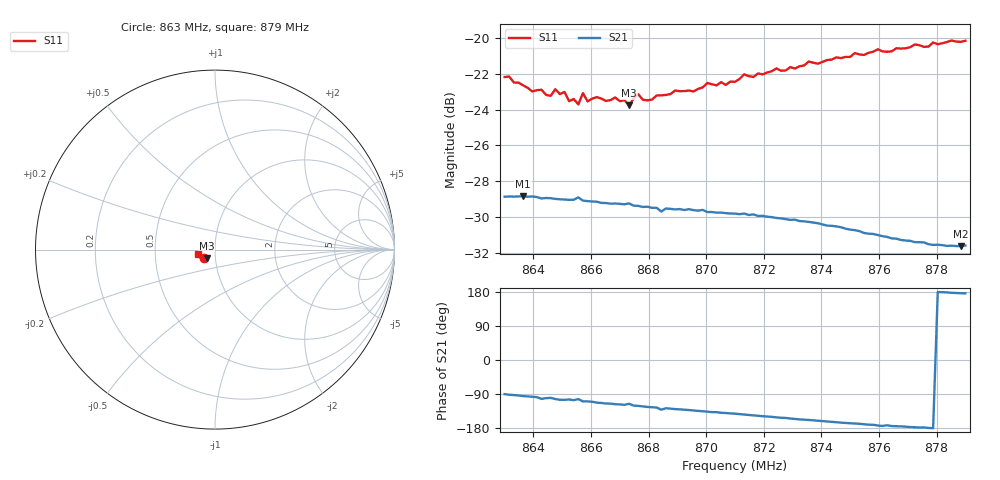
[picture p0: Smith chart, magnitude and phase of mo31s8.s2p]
# HZ S RI R 50
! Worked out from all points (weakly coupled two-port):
!   101 points, 863 MHz to 879 MHz, reference 50 ohm
!   highest |S21| = -28.84 dB at 863.64 MHz (marker M1); lowest = -31.6 dB at 878.84 MHz (marker M2)
!   lowest |S11| = -23.8 dB at 867.32 MHz (marker M3), VSWR 1.14, Z = 45.5 - j4.25 ohm
!   |S11| at or under -10 dB: start of sweep to end of sweep
!   S12 and S22 are empty: the file has one direction only
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8.63e8  -0.0607 -0.0489  -4.3e-05 -0.036  0 0  0 0
8.6364e8  -0.0567 -0.0473  -0.00323 -0.036  0 0  0 0
8.646e8  -0.0512 -0.0462  -0.00616 -0.0351  0 0  0 0
8.6476e8  -0.0548 -0.0468  -0.00799 -0.0346  0 0  0 0
8.6508e8  -0.0529 -0.047  -0.00919 -0.0342  0 0  0 0
8.6524e8  -0.049 -0.0452  -0.00871 -0.0342  0 0  0 0
8.6556e8  -0.0458 -0.0465  -0.00819 -0.0349  0 0  0 0
8.6572e8  -0.0521 -0.047  -0.0116 -0.0331  0 0  0 0
8.6588e8  -0.0487 -0.0454  -0.0115 -0.0331  0 0  0 0
8.6684e8  -0.0481 -0.0484  -0.0155 -0.0308  0 0  0 0
8.6732e8  -0.0453 -0.0465  -0.0148 -0.0312  0 0  0 0
8.6764e8  -0.0482 -0.0504  -0.0175 -0.0291  0 0  0 0
8.6796e8  -0.0463 -0.0484  -0.0188 -0.028  0 0  0 0
8.6844e8  -0.0473 -0.0505  -0.0216 -0.0246  0 0  0 0
8.71e8  -0.0527 -0.0541  -0.0253 -0.0201  0 0  0 0
8.7132e8  -0.0561 -0.056  -0.0261 -0.019  0 0  0 0
8.7164e8  -0.0548 -0.0553  -0.0267 -0.0179  0 0  0 0
8.7372e8  -0.0665 -0.0536  -0.0285 -0.0108  0 0  0 0
8.7596e8  -0.0807 -0.0465  -0.0279 -0.00348  0 0  0 0
8.7644e8  -0.0814 -0.0427  -0.0274 -0.00274  0 0  0 0
8.7884e8  -0.0939 -0.0271  -0.0261 0.00178  0 0  0 0
8.79e8  -0.0953 -0.0248  -0.0262 0.00192  0 0  0 0
